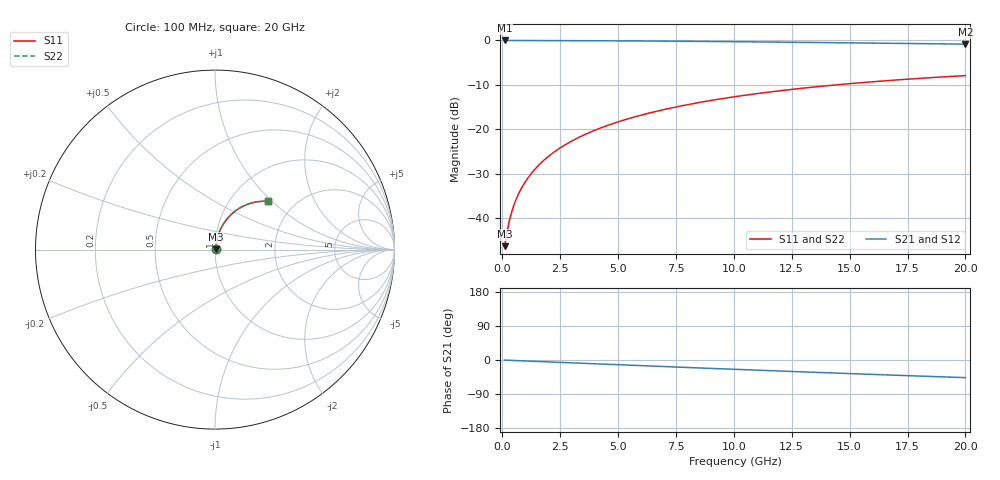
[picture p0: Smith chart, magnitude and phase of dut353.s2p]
! Touchstone file exported from HFSS 2026.1.0
!  File:  C:/ffzhzh/LocalFiles/Ansys_Project_Files/temp_train_TMRDL_353_1783004031_4048.aedt
!  Generated:  10:55:14 PM Jul  2, 2026
!  Design:  TMRDL
!  Project:  temp_train_TMRDL_353_1783004031_4048
! Variables:
!  h_bsmrdl = 2um
!  h_ox = 20um
!  h_rdl = 5um
!  h_sub = 80um
!  h_tmrdl = 2.26um
!  h_tsv = 80um
!  h_via = 3um
!  l_bsmrdl = 300um
!  l_sub = 1081.4um
!  l_tmrdl = 681.4um
!  m_sub = 200um
!  pitch = 57.46um
!  r_tsv = 6um
!  s_tmrdl = 10um
!  w_bsmrdl = 18um
!  w_sub = 500um
!  w_tmrdl = 29.57um
!  x_tsv_center1 = 696.185um
!  x_tsv_center2 = 1014.185um
!  x_tsv_center3 = 1725.155um
!  x_tsv_center4 = 2043.155um
!  x_tsv_center5 = 2754.125um
!  x_tsv_center6 = 3072.125um
# GHz S MA R 50.000000
! Terminal data exported
! Port[1] = TM_RDL1_1_T1
! Port[2] = TM_RDL1_1_T2
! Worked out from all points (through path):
!   200 points, 100 MHz to 20 GHz, reference 50 ohm
!   highest |S21| = -0.03 dB at 100 MHz (marker M1); lowest = -0.9 dB at 20 GHz (marker M2)
!   group delay of S21, straight-line fit = 6.48 ps
!   lowest |S11| = -46.3 dB at 100 MHz (marker M3), VSWR 1.01, Z = 50.4 + j0.278 ohm
!   |S11| at or under -10 dB: start of sweep to 14.46 GHz
!   |S22| runs from -46.3 to -7.9 dB; largest |S21 - S12| = 2.8e-15
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0.1  0.004849 34.7  0.996 -0.3  0.996 -0.3  0.004849 34.7
! Gamma 0 0 0 0
! Port Impedance 50 0 50 0
0.2  0.006875 52.5  0.9958 -0.5  0.9958 -0.5  0.006875 52.5
0.3  0.009209 61.1  0.9956 -0.8  0.9956 -0.8  0.009209 61.1
0.4  0.0116 65.8  0.9954 -1.1  0.9954 -1.1  0.0116 65.8
0.5  0.01398 68.9  0.9952 -1.3  0.9952 -1.3  0.01398 68.9
0.6  0.01635 71.0  0.995 -1.6  0.995 -1.6  0.01635 71.0
0.8  0.02108 73.8  0.9946 -2.1  0.9946 -2.1  0.02107 73.8
1.1  0.02817 76.2  0.9943 -2.8  0.9943 -2.8  0.02817 76.2
1.3  0.03293 77.1  0.994 -3.3  0.994 -3.3  0.03293 77.1
1.6  0.0401 78.0  0.9937 -4.0  0.9937 -4.0  0.0401 78.0
2.1  0.05209 78.4  0.993 -5.3  0.993 -5.3  0.05209 78.4
2.7  0.0665 78.2  0.992 -6.8  0.992 -6.8  0.0665 78.2
3.5  0.08565 77.2  0.9904 -8.8  0.9904 -8.8  0.08564 77.2
4.2  0.1023 76.0  0.9886 -10.5  0.9886 -10.5  0.1023 76.1
5  0.1211 74.5  0.9863 -12.5  0.9863 -12.5  0.1211 74.5
5.9  0.1419 72.6  0.9833 -14.7  0.9833 -14.7  0.1419 72.7
6.8  0.1624 70.7  0.9799 -16.9  0.9799 -16.9  0.1624 70.7
8.3  0.1955 67.4  0.9734 -20.5  0.9734 -20.5  0.1955 67.4
10.1  0.2335 63.3  0.9645 -24.8  0.9645 -24.8  0.2334 63.3
13.4  0.2973 55.9  0.9459 -32.3  0.9459 -32.3  0.2973 56.0
16.7  0.3532 48.8  0.9259 -39.6  0.9259 -39.6  0.3532 48.9
20  0.4009 42.0  0.9059 -46.6  0.9059 -46.6  0.4009 42.1
